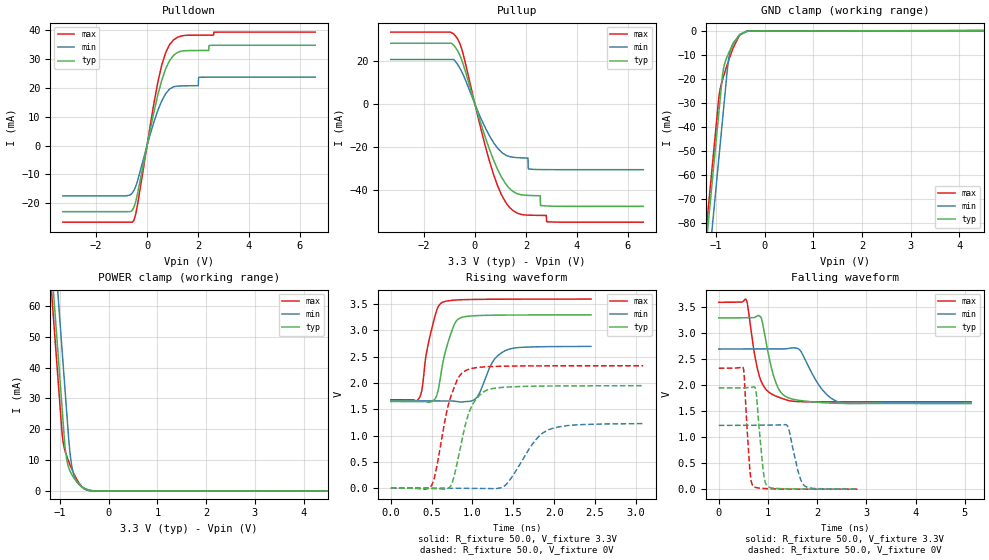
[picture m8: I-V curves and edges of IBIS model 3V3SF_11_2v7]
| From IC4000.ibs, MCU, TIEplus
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[Model] 3V3SF_11_2v7
Model_type I/O
Polarity   Non-Inverting
Enable   Active-Low
| CAP_THRESHOLD on pad IO is "CMOS" :
| Rising=10.0% of vdde3v3   Falling=90.0% of vdde3v3
| C_comp min and max val. don't necessarily correlate with the min and max pvt
| but are the smallest and greatest pad capacitance found.
| var   typ   min   max
C_comp   1.26715pF  1.18750pF  1.30990pF
Vinl = 675.0mV
Vinh = 2.25V
Vmeas = 1.65V   | Reference voltage for timing measurements
Cref  = 15.0pF   | Timing specification test load capacitance value
Rref  = 1.0MOhm   | Timing specification test load resistance value
Vref  = 3.3V   | Timing specification test load voltage
[Model Spec]
| TIME_THRESHOLD on pin ZI is "CORE" :
| Rising=50.0% of vdd   Falling=50.0% of vdd
Vinl 825.00000mV 675.00000mV 900.00000mV
Vinh 2.06250V 1.68750V 2.25000V
Vmeas 1.65000V 1.35000V 1.80000V
Vref 3.30000V 2.70000V 3.60000V
| variable   typ   min   max
[Temperature Range] 25.0 125.0 -40.0
| variable   typ   min   max
[Voltage Range] 3.3V 2.7V 3.6V
| variable   typ   min   max
[POWER Clamp Reference] 3.3V 2.7V 3.6V
| variable   typ   min   max
[GND Clamp Reference] 0V 0V 0V
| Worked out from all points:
|   slope of the pulldown table from 0 to 0.495 V, typ, clamps not added: 24.8 ohm
|   slope of the pullup table from 0 to 0.495 V, typ, clamps not added: 26.9 ohm
|   GND clamp passes 1 mA (typ) near -0.46 V on its own axis
|   POWER clamp passes 1 mA (typ) near -0.53 V on its own axis
|   rising waveform, R_fixture 50.0, V_fixture 3.3V: 20-80 % time 147ps typ, 188ps min, 134ps max; typ from 1.65 V to 3.3 V
|   falling waveform, R_fixture 50.0, V_fixture 3.3V: 20-80 % time 257ps typ, 390ps min, 235ps max; typ from 3.3 V to 1.65 V
|   rising waveform, R_fixture 50.0, V_fixture 0V: 20-80 % time 190ps typ, 313ps min, 193ps max; typ from 0 V to 1.95 V
|   falling waveform, R_fixture 50.0, V_fixture 0V: 20-80 % time 111ps typ, 180ps min, 89.7ps max; typ from 1.95 V to 0 V
[POWER Clamp]
-3.3V     524.6mA    543.4mA    516.1mA
-1.18V    74.13mA    92.92mA    65.73mA
-1.13V    63.5mA     82.3mA     55.11mA
-1.08V    52.88mA    71.67mA    44.49mA
-1.02V    40.13mA    58.93mA    31.74mA
-950mV    25.26mA    44.05mA    17.6mA
-900mV    14.93mA    33.43mA    13.17mA
-860mV    9.966mA    24.93mA    11.19mA
-800mV    6.661mA    13.12mA    8.673mA
-730mV    4.611mA    5.939mA    6.078mA
-460mV    377.7uA    598.1uA    338.7uA
6.6V      0A         0A         0A
[GND Clamp]
-3.3V     -535.9mA   -554.9mA   -529.5mA
-1.29V    -108.7mA   -127.8mA   -102.4mA
-1.13V    -74.74mA   -93.8mA    -68.39mA
-980mV    -42.86mA   -61.92mA   -36.51mA
-940mV    -34.36mA   -53.42mA   -28.08mA
-870mV    -19.62mA   -38.55mA   -20.84mA
-840mV    -15.5mA    -32.17mA   -18.78mA
-750mV    -9.826mA   -13.7mA    -13.06mA
-690mV    -7.205mA   -7.371mA   -9.546mA
-510mV    -1.433mA   -1.699mA   -1.633mA
-360mV    -54.77uA   -166.3uA   -42.24uA
6.6V      207.7uA    166.8uA    268.6uA
| variable   typ   min   max
[Pullup Reference] 3.3V 2.7V 3.6V
| variable   typ   min   max
[Pulldown Reference] 0V 0V 0V
[Pullup]
-3.3V     28.29mA    20.75mA    33.49mA
-910mV    28.29mA    20.75mA    33.2mA
-700mV    25.21mA    18.82mA    30.72mA
-470mV    18.91mA    13.94mA    23.6mA
730mV     -25.92mA   -17.83mA   -32.62mA
1.5V      -40.58mA   -24.64mA   -49.44mA
2.08V     -42.34mA   -25.01mA   -51.51mA
2.09V     -42.35mA   -29.96mA   -51.52mA
2.56V     -42.5mA    -30.35mA   -51.63mA
2.58V     -47.03mA   -30.36mA   -51.63mA
2.82V     -47.26mA   -30.39mA   -54.57mA
6.6V      -47.43mA   -30.41mA   -54.79mA
[Pulldown]
-3.3V     -22.92mA   -17.45mA   -26.58mA
-820mV    -22.92mA   -17.45mA   -26.58mA
-530mV    -21.66mA   -15.79mA   -26.09mA
-390mV    -17.39mA   -12.76mA   -21.33mA
420mV     17.42mA    12.1mA     21.81mA
730mV     26.64mA    18mA       32.27mA
1.04V     31.32mA    20.4mA     36.68mA
2.01V     32.99mA    20.79mA    38.31mA
2.03V     33mA       23.7mA     38.31mA
2.42V     33.01mA    23.74mA    38.32mA
2.44V     34.75mA    23.74mA    38.32mA
6.6V      34.81mA    23.75mA    39.38mA
[Ramp]
dV/dt_r 1.16975V/189.50514ps 737.10548mV/313.10036ps 1.39725V/192.9901ps
dV/dt_f 989.53002mV/257.16879ps 623.19328mV/389.77639ps 1.14965V/234.50303ps
R_load = 50.0
| Removed startup time: 0s 0s 0s  .
| Removed end time: 2.43ns.
[Rising Waveform]
R_fixture   = 50.0
V_fixture   = 3.3V
V_fixture_min = 2.7V
V_fixture_max = 3.6V
0s        1.649V     1.66V      1.682V
350ps     1.65V      1.66V      1.719V
540ps     1.699V     1.661V     3.27V
630ps     2.327V     1.661V     3.534V
760ps     3.05V      1.658V     3.576V
860ps     3.245V     1.639V     3.585V
1.05ns    3.283V     1.723V     3.592V
1.25ns    3.291V     2.411V     3.595V
1.41ns    3.294V     2.623V     3.596V
2.45ns    3.298V     2.699V     3.598V
| Removed startup time: 0s 0s 0s  .
| Removed end time: 5.11ns.
[Falling Waveform]
R_fixture   = 50.0
V_fixture   = 3.3V
V_fixture_min = 2.7V
V_fixture_max = 3.6V
0s        3.298V     2.699V     3.598V
560ps     3.301V     2.699V     3.644V
740ps     3.312V     2.699V     2.537V
850ps     3.32V      2.699V     2.108V
1.06ns    2.378V     2.7V       1.84V
1.2ns     1.964V     2.7V       1.777V
1.64ns    1.71V      2.689V     1.686V
2.08ns    1.668V     1.946V     1.682V
2.46ns    1.652V     1.67V      1.682V
5.13ns    1.649V     1.66V      1.682V
| Removed startup time: 0s 0s 0s  .
| Removed end time: 3.07ns.
[Rising Waveform]
R_fixture   = 50.0
V_fixture   = 0V
V_fixture_min = 0V
V_fixture_max = 0V
0s        157uV      126.8uV    187.5uV
500ps     -6.421mV   212.9uV    54.8mV
740ps     60.63mV    -154.4uV   1.768V
920ps     1.25V      -3.005mV   2.24V
1.04ns    1.686V     -4.47mV    2.291V
1.23ns    1.891V     -11.49mV   2.315V
1.41ns    1.922V     66.36mV    2.322V
1.75ns    1.94V      872.4mV    2.326V
1.93ns    1.944V     1.109V     2.327V
3.09ns    1.95V      1.229V     2.329V
| Removed startup time: 0s 0s 0s  .
| Removed end time: 2.8ns.
[Falling Waveform]
R_fixture   = 50.0
V_fixture   = 0V
V_fixture_min = 0V
V_fixture_max = 0V
0s        1.95V      1.229V     2.329V
500ps     1.951V     1.229V     2.332V
630ps     1.957V     1.23V      402mV
710ps     1.969V     1.231V     52.34mV
760ps     1.87V      1.231V     30.45mV
910ps     313.4mV    1.232V     13.84mV
990ps     56.51mV    1.233V     10.01mV
1.4ns     6.684mV    1.212V     1.725mV
1.75ns    2.666mV    60.68mV    429.5uV
2.82ns    157uV      126.3uV    187.5uV
